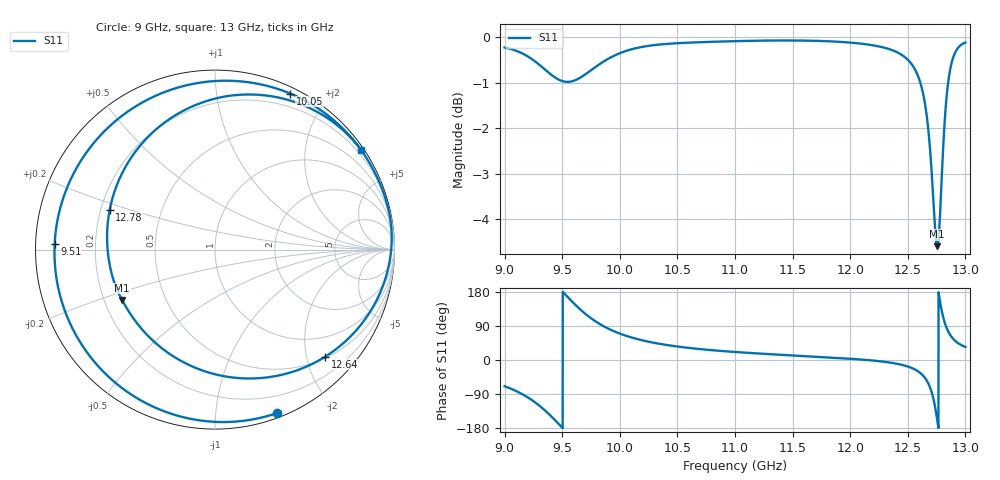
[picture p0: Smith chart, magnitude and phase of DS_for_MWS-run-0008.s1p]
! TOUCHSTONE file generated by CST DESIGN STUDIO
! Date and time: Tue Feb  4 12:44:47 2025
! Project name: C:\Work\MatlabApps\UnitCellOptimizationMatlab\CST\unitcell.cst
! Tree item: Tasks\Sweep1\SPara1\S-Parameters
! Header version: 2024
! Port assignment regex: !\s*Touchstone port\s*([0-9]+)\s*=\s*(CST MWS port|CST DES external port|CST DES block port)\s*(.+)\s* \(\"(.*)\"\)(\s*mode\s*([0-9]+))?.*
! Touchstone port assignment:
! Touchstone port 1 = CST DES external port 1 ("")
# GHz S MA R 50
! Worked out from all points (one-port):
!   4001 points, 9 GHz to 13 GHz, reference 50 ohm
!   lowest |S11| = -4.6 dB at 12.75 GHz (marker M1), VSWR 3.87, Z = 13.7 - j11.8 ohm
!   |S11| at or under -10 dB: nowhere
!   S11 on the Smith chart (normalised r, x): 9 GHz: 0.04, -1.45; 9.51 GHz: 0.06, +0.02; 10.05 GHz: 0.06, +1.59; 12.64 GHz: 0.53, -2.37; 12.78 GHz: 0.24, +0.17; 13 GHz: 0.08, +3.23
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9  0.9741 -69.3
9.162  0.9584 -91.6
9.278  0.9374 -114.8
9.38  0.9144 -141.4
9.5  0.8946 -178.7
9.51  0.8939 178.1
9.626  0.8981 142.0
9.728  0.9152 115.2
9.844  0.9373 91.8
10  0.9601 69.7
10.051  0.9653 64.2
10.247  0.978 48.4
10.5  0.9846 35.6
11  0.9898 21.2
11.5  0.9915 12.1
12  0.9862 3.4
12.5  0.9443 -17.1
12.584  0.9093 -28.9
12.641  0.8564 -44.1
12.676  0.7958 -60.5
12.709  0.7049 -86.6
12.731  0.6318 -114.5
12.752  0.589 -151.6
12.777  0.627 159.4
12.808  0.76 112.1
12.839  0.866 83.1
12.904  0.9571 52.7
13  0.9862 34.3
